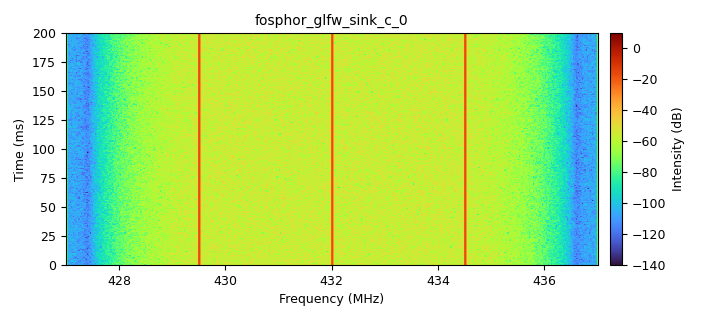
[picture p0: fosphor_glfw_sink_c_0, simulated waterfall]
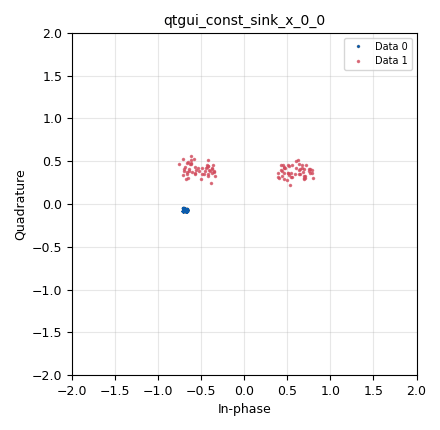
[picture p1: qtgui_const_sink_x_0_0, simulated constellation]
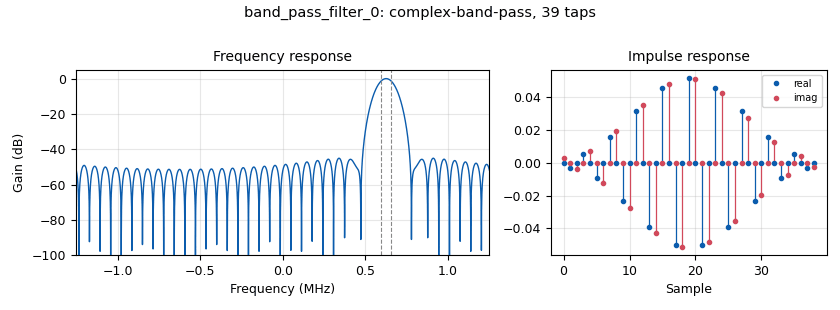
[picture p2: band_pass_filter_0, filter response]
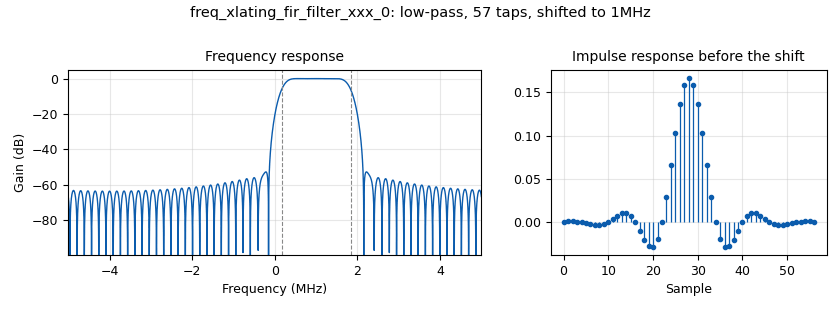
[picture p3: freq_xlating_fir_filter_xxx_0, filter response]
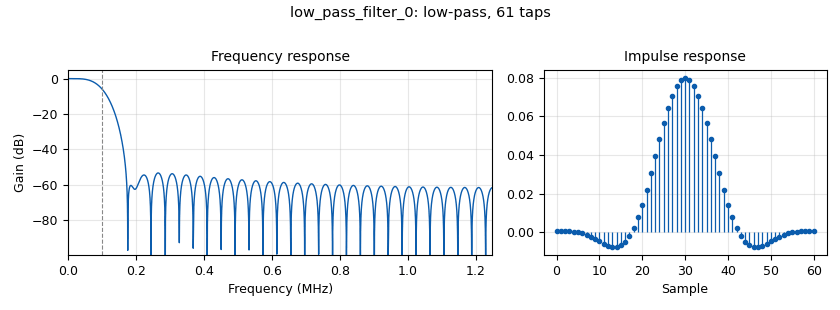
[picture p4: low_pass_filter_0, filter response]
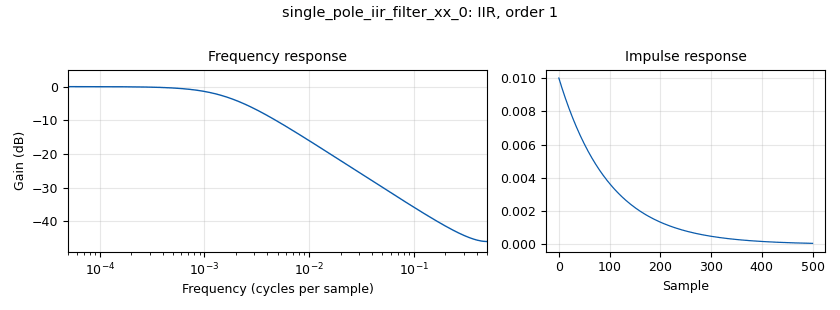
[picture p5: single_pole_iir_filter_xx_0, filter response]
options:
  parameters:
    generate_options: qt_gui
    id: top_block
    output_language: python
  states: {}

blocks:
- name: amplitude_0
  id: variable_qtgui_range
  parameters:
    start: '0'
    step: '0.001'
    stop: '1'
    value: '1'
  states: {}
- name: amplitude_1
  id: variable_qtgui_range
  parameters:
    start: '0'
    step: '0.001'
    stop: '1'
    value: '0'
  states: {}
- name: amplitude_2
  id: variable_qtgui_range
  parameters:
    start: '0'
    step: '0.001'
    stop: '1'
    value: '0'
  states: {}
- name: angle_0
  id: variable_qtgui_range
  parameters:
    start: '-math.pi'
    step: math.pi/100
    stop: math.pi
    value: '0'
  states: {}
- name: angle_1
  id: variable_qtgui_range
  parameters:
    start: '-math.pi'
    step: math.pi/100
    stop: math.pi
    value: '0'
  states: {}
- name: angle_2
  id: variable_qtgui_range
  parameters:
    start: '-math.pi'
    step: math.pi/100
    stop: math.pi
    value: '0'
  states: {}
- name: antenna_position
  id: variable
  parameters:
    value: (1, 0+1j, -1, 0-1j)
  states: {}
- name: antennas
  id: variable
  parameters:
    value: '4'
  states: {}
- name: c
  id: variable
  parameters:
    value: '299792458'
  states: {}
- name: carrier_freq
  id: variable
  parameters:
    value: 433e6
  states: {}
- name: decimation
  id: variable
  parameters:
    value: '4'
  states: {}
- name: e
  id: variable
  parameters:
    value: math.e
  states: {}
- name: phase_0
  id: variable_qtgui_range
  parameters:
    start: '-math.pi'
    step: math.pi/100
    stop: math.pi
    value: '0'
  states: {state: disabled}
- name: phase_0
  id: variable
  parameters:
    value: '1'
  states: {}
- name: phase_1
  id: variable_qtgui_range
  parameters:
    start: '-math.pi'
    step: math.pi/100
    stop: math.pi
    value: '0'
  states: {state: disabled}
- name: phase_1
  id: variable
  parameters:
    value: '2'
  states: {}
- name: phase_2
  id: variable_qtgui_range
  parameters:
    start: '-math.pi'
    step: math.pi/100
    stop: math.pi
    value: '0'
  states: {state: disabled}
- name: phase_2
  id: variable
  parameters:
    value: '3'
  states: {}
- name: radius
  id: variable
  parameters:
    value: '0.2'
  states: {}
- name: rotation_rate
  id: variable
  parameters:
    value: samp_rate/samples_per_rotation
  states: {}
- name: samp_rate
  id: variable
  parameters:
    value: 10e6
  states: {}
- name: samples_per_antenna
  id: variable
  parameters:
    value: '4'
  states: {}
- name: samples_per_rotation
  id: variable
  parameters:
    value: samples_per_antenna * antennas
  states: {}
- name: taps
  id: variable_low_pass_filter_taps
  parameters:
    cutoff_freq: samp_rate/(decimation*3)
    gain: '1.0'
    samp_rate: samp_rate
    width: samp_rate/(decimation*6)
    win: window.WIN_HAMMING
  states: {}
- name: tau
  id: variable
  parameters:
    value: 2*math.pi
  states: {}
- name: threshold
  id: variable_qtgui_range
  parameters:
    start: '0'
    step: '1'
    stop: '1000'
    value: '500'
  states: {}
- name: tuning_freq
  id: variable
  parameters:
    value: 432e6
  states: {}
- name: wavelength
  id: variable
  parameters:
    value: c/carrier_freq
  states: {}
- name: analog_const_source_x_0
  id: analog_const_source_x
  parameters:
    const: amplitude_0*e**(1j*(phase_0+((tau*radius*antenna_position[0]*(e**(1j*angle_0))).real/wavelength)))
    type: complex
  states: {}
- name: analog_const_source_x_0_0
  id: analog_const_source_x
  parameters:
    const: amplitude_0*e**(1j*(phase_0+((tau*radius*antenna_position[1]*(e**(1j*angle_0))).real/wavelength)))
    type: complex
  states: {}
- name: analog_const_source_x_0_0_0
  id: analog_const_source_x
  parameters:
    const: amplitude_0*e**(1j*(phase_0+((tau*radius*antenna_position[3]*(e**(1j*angle_0))).real/wavelength)))
    type: complex
  states: {}
- name: analog_const_source_x_0_0_0_0
  id: analog_const_source_x
  parameters:
    const: amplitude_1*e**(1j*(phase_1+((tau*radius*antenna_position[3]*(e**(1j*angle_1))).real/wavelength)))
    type: complex
  states: {}
- name: analog_const_source_x_0_0_0_1
  id: analog_const_source_x
  parameters:
    const: amplitude_2*e**(1j*(phase_2+((tau*radius*antenna_position[3]*(e**(1j*angle_2))).real/wavelength)))
    type: complex
  states: {}
- name: analog_const_source_x_0_0_1
  id: analog_const_source_x
  parameters:
    const: amplitude_1*e**(1j*(phase_1+((tau*radius*antenna_position[1]*(e**(1j*angle_1))).real/wavelength)))
    type: complex
  states: {}
- name: analog_const_source_x_0_0_2
  id: analog_const_source_x
  parameters:
    const: amplitude_2*e**(1j*(phase_2+((tau*radius*antenna_position[1]*(e**(1j*angle_2))).real/wavelength)))
    type: complex
  states: {}
- name: analog_const_source_x_0_1
  id: analog_const_source_x
  parameters:
    const: amplitude_0*e**(1j*(phase_0+((tau*radius*antenna_position[2]*(e**(1j*angle_0))).real/wavelength)))
    type: complex
  states: {}
- name: analog_const_source_x_0_1_0
  id: analog_const_source_x
  parameters:
    const: amplitude_1*e**(1j*(phase_1+((tau*radius*antenna_position[2]*(e**(1j*angle_1))).real/wavelength)))
    type: complex
  states: {}
- name: analog_const_source_x_0_1_1
  id: analog_const_source_x
  parameters:
    const: amplitude_2*e**(1j*(phase_2+((tau*radius*antenna_position[2]*(e**(1j*angle_2))).real/wavelength)))
    type: complex
  states: {}
- name: analog_const_source_x_0_2
  id: analog_const_source_x
  parameters:
    const: amplitude_1*e**(1j*(phase_1+((tau*radius*antenna_position[0]*(e**(1j*angle_1))).real/wavelength)))
    type: complex
  states: {}
- name: analog_const_source_x_0_3
  id: analog_const_source_x
  parameters:
    const: amplitude_2*e**(1j*(phase_2+((tau*radius*antenna_position[0]*(e**(1j*angle_2))).real/wavelength)))
    type: complex
  states: {}
- name: analog_fastnoise_source_x_0
  id: analog_fastnoise_source_x
  parameters:
    amp: '0.2'
    noise_type: analog.GR_GAUSSIAN
    samples: '8192'
    seed: '0'
    type: complex
  states: {}
- name: analog_quadrature_demod_cf_0
  id: analog_quadrature_demod_cf
  parameters:
    gain: '0.2'
  states: {}
- name: analog_sig_source_x_0
  id: analog_sig_source_x
  parameters:
    amp: '1'
    freq: carrier_freq-tuning_freq
    offset: '0'
    phase: '0'
    samp_rate: samp_rate
    type: complex
    waveform: analog.GR_COS_WAVE
  states: {}
- name: analog_sig_source_x_0_0
  id: analog_sig_source_x
  parameters:
    amp: '1'
    freq: '-rotation_rate'
    offset: '0'
    phase: '0'
    samp_rate: samp_rate/decimation
    type: complex
    waveform: analog.GR_COS_WAVE
  states: {}
- name: band_pass_filter_0
  id: band_pass_filter
  parameters:
    decim: '1'
    gain: '1'
    high_cutoff_freq: rotation_rate*1.05
    low_cutoff_freq: rotation_rate*.95
    samp_rate: samp_rate/decimation
    type: fir_filter_ccc
    width: rotation_rate/4
    win: window.WIN_HAMMING
  states: {}
- name: blocks_add_xx_0
  id: blocks_add_xx
  parameters:
    num_inputs: '3'
    type: complex
  states: {}
- name: blocks_add_xx_1
  id: blocks_add_xx
  parameters:
    type: complex
  states: {}
- name: blocks_burst_tagger_0
  id: blocks_burst_tagger
  parameters:
    false_key: burst
    false_value: 'False'
    true_key: burst
    true_value: 'True'
    type: complex
  states: {}
- name: blocks_complex_to_mag_0
  id: blocks_complex_to_mag
  parameters: {}
  states: {}
- name: blocks_complex_to_mag_1
  id: blocks_complex_to_mag
  parameters: {}
  states: {}
- name: blocks_divide_xx_0
  id: blocks_divide_xx
  parameters:
    type: complex
  states: {}
- name: blocks_file_source_0
  id: blocks_file_source
  parameters:
    repeat: 'True'
    type: complex
  states: {state: disabled}
- name: blocks_float_to_complex_0
  id: blocks_float_to_complex
  parameters: {}
  states: {}
- name: blocks_float_to_complex_0_0
  id: blocks_float_to_complex
  parameters: {}
  states: {}
- name: blocks_float_to_complex_0_0_0
  id: blocks_float_to_complex
  parameters: {}
  states: {}
- name: blocks_float_to_short_0
  id: blocks_float_to_short
  parameters:
    scale: '1'
  states: {}
- name: blocks_multiply_const_vxx_0_0
  id: blocks_multiply_const_vxx
  parameters:
    const: '32767'
    type: float
  states: {}
- name: blocks_multiply_xx_0
  id: blocks_multiply_xx
  parameters:
    type: complex
  states: {}
- name: blocks_multiply_xx_0_0
  id: blocks_multiply_xx
  parameters:
    type: complex
  states: {}
- name: blocks_multiply_xx_0_0_0
  id: blocks_multiply_xx
  parameters:
    type: complex
  states: {}
- name: blocks_multiply_xx_0_1
  id: blocks_multiply_xx
  parameters:
    type: complex
  states: {}
- name: blocks_multiply_xx_0_1_0
  id: blocks_multiply_xx
  parameters:
    type: complex
  states: {}
- name: blocks_stream_mux_0
  id: blocks_stream_mux
  parameters:
    lengths: (samples_per_antenna,)*4
    num_inputs: antennas
    type: complex
  states: {}
- name: blocks_stream_mux_0_0
  id: blocks_stream_mux
  parameters:
    lengths: (samples_per_antenna,)*4
    num_inputs: antennas
    type: complex
  states: {}
- name: blocks_stream_mux_0_0_0
  id: blocks_stream_mux
  parameters:
    lengths: (samples_per_antenna,)*4
    num_inputs: antennas
    type: complex
  states: {}
- name: blocks_threshold_ff_0
  id: blocks_threshold_ff
  parameters:
    high: threshold
    init: '0'
    low: threshold/2
  states: {}
- name: blocks_throttle_0
  id: blocks_throttle
  parameters:
    samples_per_second: samp_rate
    type: complex
  states: {}
- name: dc_blocker_xx_0
  id: dc_blocker_xx
  parameters:
    length: '320'
    long_form: 'True'
    type: cc
  states: {state: disabled}
- name: digital_costas_loop_cc_0
  id: digital_costas_loop_cc
  parameters:
    order: '2'
    w: 6.28/100
  states: {}
- name: fosphor_glfw_sink_c_0
  id: fosphor_glfw_sink_c
  parameters:
    freq_center: tuning_freq
    freq_span: samp_rate
  states: {}
- name: freq_xlating_fir_filter_xxx_0
  id: freq_xlating_fir_filter_xxx
  parameters:
    center_freq: carrier_freq-tuning_freq
    decim: decimation
    samp_rate: samp_rate
    taps: taps
    type: ccc
  states: {}
- name: import_0
  id: import
  parameters:
    imports: import math
  states: {}
- name: low_pass_filter_0
  id: low_pass_filter
  parameters:
    cutoff_freq: samp_rate/100
    decim: '1'
    gain: '1'
    samp_rate: samp_rate/decimation
    type: fir_filter_fff
    width: samp_rate/100
    win: window.WIN_HAMMING
  states: {}
- name: qtgui_const_sink_x_0_0
  id: qtgui_const_sink_x
  parameters:
    alpha2: '0.1'
    grid: 'True'
    nconnections: '2'
    size: '100'
    tr_level: '0.1'
    tr_tag: '"burst"'
    type: complex
  states: {}
- name: single_pole_iir_filter_xx_0
  id: single_pole_iir_filter_xx
  parameters:
    alpha: '.01'
    type: float
  states: {}

connections:
- [analog_const_source_x_0, '0', blocks_stream_mux_0, '0']
- [analog_const_source_x_0_0, '0', blocks_stream_mux_0, '1']
- [analog_const_source_x_0_0_0, '0', blocks_stream_mux_0, '3']
- [analog_const_source_x_0_0_0_0, '0', blocks_stream_mux_0_0, '3']
- [analog_const_source_x_0_0_0_1, '0', blocks_stream_mux_0_0_0, '3']
- [analog_const_source_x_0_0_1, '0', blocks_stream_mux_0_0, '1']
- [analog_const_source_x_0_0_2, '0', blocks_stream_mux_0_0_0, '1']
- [analog_const_source_x_0_1, '0', blocks_stream_mux_0, '2']
- [analog_const_source_x_0_1_0, '0', blocks_stream_mux_0_0, '2']
- [analog_const_source_x_0_1_1, '0', blocks_stream_mux_0_0_0, '2']
- [analog_const_source_x_0_2, '0', blocks_stream_mux_0_0, '0']
- [analog_const_source_x_0_3, '0', blocks_stream_mux_0_0_0, '0']
- [analog_fastnoise_source_x_0, '0', blocks_add_xx_1, '1']
- [analog_quadrature_demod_cf_0, '0', blocks_float_to_complex_0, '0']
- [analog_sig_source_x_0, '0', blocks_add_xx_1, '0']
- [analog_sig_source_x_0_0, '0', blocks_multiply_xx_0_0, '1']
- [band_pass_filter_0, '0', blocks_multiply_xx_0_0, '0']
- [blocks_add_xx_0, '0', blocks_throttle_0, '0']
- [blocks_add_xx_1, '0', blocks_multiply_xx_0, '0']
- [blocks_add_xx_1, '0', blocks_multiply_xx_0_1, '0']
- [blocks_add_xx_1, '0', blocks_multiply_xx_0_1_0, '0']
- [blocks_burst_tagger_0, '0', analog_quadrature_demod_cf_0, '0']
- [blocks_burst_tagger_0, '0', digital_costas_loop_cc_0, '0']
- [blocks_complex_to_mag_0, '0', blocks_multiply_const_vxx_0_0, '0']
- [blocks_complex_to_mag_0, '0', low_pass_filter_0, '0']
- [blocks_complex_to_mag_1, '0', blocks_float_to_complex_0_0_0, '0']
- [blocks_divide_xx_0, '0', blocks_multiply_xx_0_0_0, '1']
- [blocks_file_source_0, '0', dc_blocker_xx_0, '0']
- [blocks_float_to_complex_0, '0', band_pass_filter_0, '0']
- [blocks_float_to_complex_0_0, '0', blocks_multiply_xx_0_0_0, '0']
- [blocks_float_to_complex_0_0_0, '0', blocks_divide_xx_0, '1']
- [blocks_float_to_short_0, '0', blocks_burst_tagger_0, '1']
- [blocks_multiply_const_vxx_0_0, '0', single_pole_iir_filter_xx_0, '0']
- [blocks_multiply_xx_0, '0', blocks_add_xx_0, '0']
- [blocks_multiply_xx_0_0, '0', blocks_complex_to_mag_1, '0']
- [blocks_multiply_xx_0_0, '0', blocks_divide_xx_0, '0']
- [blocks_multiply_xx_0_0_0, '0', qtgui_const_sink_x_0_0, '0']
- [blocks_multiply_xx_0_1, '0', blocks_add_xx_0, '1']
- [blocks_multiply_xx_0_1_0, '0', blocks_add_xx_0, '2']
- [blocks_stream_mux_0, '0', blocks_multiply_xx_0, '1']
- [blocks_stream_mux_0_0, '0', blocks_multiply_xx_0_1, '1']
- [blocks_stream_mux_0_0_0, '0', blocks_multiply_xx_0_1_0, '1']
- [blocks_threshold_ff_0, '0', blocks_float_to_short_0, '0']
- [blocks_throttle_0, '0', freq_xlating_fir_filter_xxx_0, '0']
- [dc_blocker_xx_0, '0', blocks_add_xx_1, '0']
- [digital_costas_loop_cc_0, '0', qtgui_const_sink_x_0_0, '1']
- [freq_xlating_fir_filter_xxx_0, '0', blocks_burst_tagger_0, '0']
- [freq_xlating_fir_filter_xxx_0, '0', blocks_complex_to_mag_0, '0']
- [freq_xlating_fir_filter_xxx_0, '0', fosphor_glfw_sink_c_0, '0']
- [low_pass_filter_0, '0', blocks_float_to_complex_0_0, '0']
- [single_pole_iir_filter_xx_0, '0', blocks_threshold_ff_0, '0']

metadata:
  file_format: 1
  grc_version: v3.11.0.0git-352-g6efdc9d8
